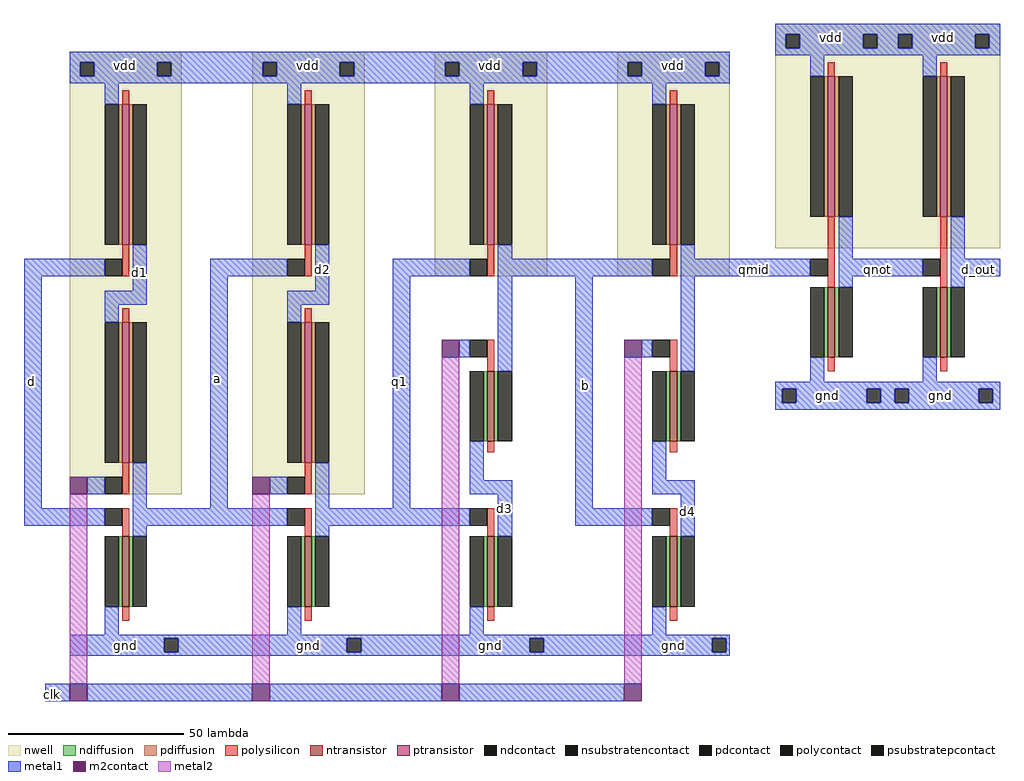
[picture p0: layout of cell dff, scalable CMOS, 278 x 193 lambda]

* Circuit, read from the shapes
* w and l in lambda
.subckt dff a b clk d d1 d2 d3 d4 d_out gnd q1 qmid qnot vdd
M1 a d gnd gnd nfet w=20 l=2
M2 q1 a gnd gnd nfet w=20 l=2
M3 d3 q1 gnd gnd nfet w=20 l=2
M4 b clk d3 gnd nfet w=20 l=2
M5 d4 b gnd gnd nfet w=20 l=2
M6 qmid clk d4 gnd nfet w=20 l=2
M7 qnot qmid gnd gnd nfet w=20 l=2
M8 d_out qnot gnd gnd nfet w=20 l=2
M9 a clk d1 vdd pfet w=40 l=2
M10 d1 d vdd vdd pfet w=40 l=2
M11 q1 clk d2 vdd pfet w=40 l=2
M12 d2 a vdd vdd pfet w=40 l=2
M13 b q1 vdd vdd pfet w=40 l=2
M14 qmid b vdd vdd pfet w=40 l=2
M15 qnot qmid vdd vdd pfet w=40 l=2
M16 d_out qnot vdd vdd pfet w=40 l=2
.ends

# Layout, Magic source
magic
tech scmos
<< nwell >>
rect 241 202 273 328
rect 293 202 325 328
rect 345 264 377 328
rect 397 264 429 328
rect 442 272 506 336
<< ntransistor >>
rect 457 241 459 261
rect 489 241 491 261
rect 360 217 362 237
rect 412 217 414 237
rect 256 170 258 190
rect 308 170 310 190
rect 360 170 362 190
rect 412 170 414 190
<< ptransistor >>
rect 256 273 258 313
rect 308 273 310 313
rect 360 273 362 313
rect 412 273 414 313
rect 457 281 459 321
rect 489 281 491 321
rect 256 211 258 251
rect 308 211 310 251
<< ndiffusion >>
rect 456 241 457 261
rect 459 241 460 261
rect 488 241 489 261
rect 491 241 492 261
rect 359 217 360 237
rect 362 217 363 237
rect 411 217 412 237
rect 414 217 415 237
rect 255 170 256 190
rect 258 170 259 190
rect 307 170 308 190
rect 310 170 311 190
rect 359 170 360 190
rect 362 170 363 190
rect 411 170 412 190
rect 414 170 415 190
<< pdiffusion >>
rect 255 273 256 313
rect 258 273 259 313
rect 307 273 308 313
rect 310 273 311 313
rect 359 273 360 313
rect 362 273 363 313
rect 411 273 412 313
rect 414 273 415 313
rect 456 281 457 321
rect 459 281 460 321
rect 488 281 489 321
rect 491 281 492 321
rect 255 211 256 251
rect 258 211 259 251
rect 307 211 308 251
rect 310 211 311 251
<< ndcontact >>
rect 452 241 456 261
rect 460 241 464 261
rect 484 241 488 261
rect 492 241 496 261
rect 355 217 359 237
rect 363 217 367 237
rect 407 217 411 237
rect 415 217 419 237
rect 251 170 255 190
rect 259 170 263 190
rect 303 170 307 190
rect 311 170 315 190
rect 355 170 359 190
rect 363 170 367 190
rect 407 170 411 190
rect 415 170 419 190
<< pdcontact >>
rect 251 273 255 313
rect 259 273 263 313
rect 303 273 307 313
rect 311 273 315 313
rect 355 273 359 313
rect 363 273 367 313
rect 407 273 411 313
rect 415 273 419 313
rect 452 281 456 321
rect 460 281 464 321
rect 484 281 488 321
rect 492 281 496 321
rect 251 211 255 251
rect 259 211 263 251
rect 303 211 307 251
rect 311 211 315 251
<< psubstratepcontact >>
rect 444 228 448 232
rect 468 228 472 232
rect 476 228 480 232
rect 500 228 504 232
rect 268 157 272 161
rect 320 157 324 161
rect 372 157 376 161
rect 424 157 428 161
<< nsubstratencontact >>
rect 445 329 449 333
rect 467 329 471 333
rect 477 329 481 333
rect 499 329 503 333
rect 244 321 248 325
rect 266 321 270 325
rect 296 321 300 325
rect 318 321 322 325
rect 348 321 352 325
rect 370 321 374 325
rect 400 321 404 325
rect 422 321 426 325
<< polysilicon >>
rect 457 321 459 325
rect 489 321 491 325
rect 256 313 258 317
rect 308 313 310 317
rect 360 313 362 317
rect 412 313 414 317
rect 256 264 258 273
rect 308 264 310 273
rect 360 264 362 273
rect 412 264 414 273
rect 457 261 459 281
rect 489 261 491 281
rect 256 251 258 255
rect 308 251 310 255
rect 360 237 362 246
rect 412 237 414 246
rect 457 237 459 241
rect 489 237 491 241
rect 360 214 362 217
rect 412 214 414 217
rect 256 202 258 211
rect 308 202 310 211
rect 256 190 258 198
rect 308 190 310 198
rect 360 190 362 198
rect 412 190 414 198
rect 256 166 258 170
rect 308 166 310 170
rect 360 166 362 170
rect 412 166 414 170
<< polycontact >>
rect 251 264 256 269
rect 303 264 308 269
rect 355 264 360 269
rect 407 264 412 269
rect 452 264 457 269
rect 484 264 489 269
rect 355 241 360 246
rect 407 241 412 246
rect 251 202 256 207
rect 303 202 308 207
rect 251 193 256 198
rect 303 193 308 198
rect 355 193 360 198
rect 407 193 412 198
<< metal1 >>
rect 442 333 506 336
rect 442 329 445 333
rect 449 329 467 333
rect 471 329 477 333
rect 481 329 499 333
rect 503 329 506 333
rect 241 325 429 328
rect 442 327 506 329
rect 241 321 244 325
rect 248 321 266 325
rect 270 321 296 325
rect 300 321 318 325
rect 322 321 348 325
rect 352 321 370 325
rect 374 321 400 325
rect 404 321 422 325
rect 426 321 429 325
rect 241 319 429 321
rect 452 321 456 327
rect 484 321 488 327
rect 251 313 255 319
rect 303 313 307 319
rect 355 313 359 319
rect 407 313 411 319
rect 228 264 251 269
rect 228 198 233 264
rect 259 260 263 273
rect 251 256 263 260
rect 281 264 303 269
rect 251 251 255 256
rect 246 202 251 207
rect 259 198 263 211
rect 281 198 286 264
rect 311 260 315 273
rect 363 269 367 273
rect 415 269 419 273
rect 460 269 464 281
rect 492 269 496 281
rect 303 256 315 260
rect 333 264 355 269
rect 363 264 407 269
rect 415 264 452 269
rect 460 264 484 269
rect 492 264 506 269
rect 303 251 307 256
rect 298 202 303 207
rect 311 198 315 211
rect 333 198 338 264
rect 352 241 355 246
rect 363 237 367 264
rect 355 206 359 217
rect 355 202 367 206
rect 228 193 251 198
rect 259 193 303 198
rect 311 193 355 198
rect 259 190 263 193
rect 311 190 315 193
rect 363 190 367 202
rect 385 198 390 264
rect 404 241 407 246
rect 415 237 419 264
rect 460 261 464 264
rect 492 261 496 264
rect 452 234 456 241
rect 484 234 488 241
rect 442 232 506 234
rect 442 228 444 232
rect 448 228 468 232
rect 472 228 476 232
rect 480 228 500 232
rect 504 228 506 232
rect 442 226 506 228
rect 407 206 411 217
rect 407 202 419 206
rect 385 193 407 198
rect 415 190 419 202
rect 251 162 255 170
rect 303 162 307 170
rect 355 162 359 170
rect 407 162 411 170
rect 241 161 429 162
rect 241 157 268 161
rect 272 157 320 161
rect 324 157 372 161
rect 376 157 424 161
rect 428 157 429 161
rect 241 156 429 157
rect 234 143 241 148
rect 246 143 293 148
rect 298 143 347 148
rect 352 143 399 148
<< m2contact >>
rect 241 202 246 207
rect 293 202 298 207
rect 347 241 352 246
rect 399 241 404 246
rect 241 143 246 148
rect 293 143 298 148
rect 347 143 352 148
rect 399 143 404 148
<< metal2 >>
rect 241 148 246 202
rect 293 148 298 202
rect 347 148 352 241
rect 399 148 404 241
<< labels >>
rlabel metal1 257 324 257 324 5 vdd
rlabel metal1 257 159 257 159 1 gnd
rlabel metal1 309 324 309 324 5 vdd
rlabel metal1 309 159 309 159 1 gnd
rlabel metal1 361 159 361 159 1 gnd
rlabel metal1 361 324 361 324 5 vdd
rlabel metal1 413 159 413 159 1 gnd
rlabel metal1 413 324 413 324 5 vdd
rlabel metal1 230 234 230 234 1 d
rlabel metal1 489 230 489 230 1 gnd
rlabel metal1 490 332 490 332 5 vdd
rlabel metal1 457 230 457 230 1 gnd
rlabel metal1 458 332 458 332 5 vdd
rlabel metal1 236 145 236 145 1 clk
rlabel metal1 261 265 261 265 1 d1
rlabel metal1 283 235 283 235 1 a
rlabel metal1 313 266 313 266 1 d2
rlabel metal1 335 234 335 234 1 q1
rlabel metal1 365 198 365 198 1 d3
rlabel metal1 388 233 388 233 1 b
rlabel metal1 417 197 417 197 1 d4
rlabel metal1 436 266 436 266 1 qmid
rlabel metal1 471 266 471 266 1 qnot
rlabel metal1 500 266 500 266 1 d_out
<< end >>
